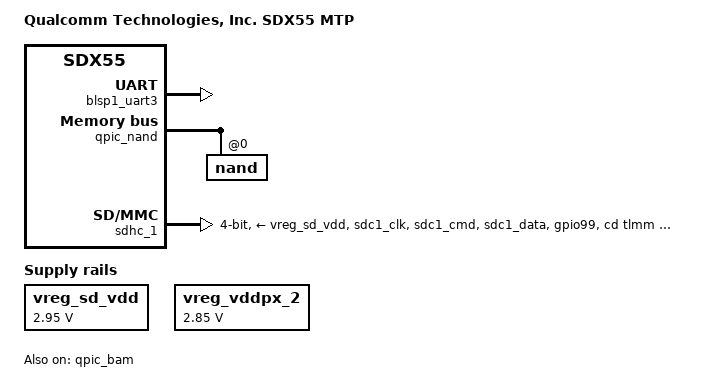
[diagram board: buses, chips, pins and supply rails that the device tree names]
// SPDX-License-Identifier: BSD-3-Clause
/*
 * Copyright (c) 2018-2020, The Linux Foundation. All rights reserved.
 * Copyright (c) 2020, Linaro Ltd.
 */

/dts-v1/;

#include <dt-bindings/gpio/gpio.h>
#include "qcom-sdx55.dtsi"
#include <arm64/qcom/pm8150b.dtsi>

/ {
	model = "Qualcomm Technologies, Inc. SDX55 MTP";
	compatible = "qcom,sdx55-mtp", "qcom,sdx55";
	qcom,board-id = <0x5010008 0x0>;

	aliases {
		serial0 = &blsp1_uart3;
	};

	chosen {
		stdout-path = "serial0:115200n8";
	};

	vreg_sd_vdd: sd-vdd {
		compatible = "regulator-fixed";
		regulator-name = "vreg_sd_vdd";
		regulator-min-microvolt = <2950000>;
		regulator-max-microvolt = <2950000>;
	};

	vreg_vddpx_2: vddpx-2 {
		compatible = "regulator-fixed";
		regulator-name = "vreg_vddpx_2";
		regulator-min-microvolt = <2850000>;
		regulator-max-microvolt = <2850000>;
	};
};

&blsp1_uart3 {
	status = "ok";
};

&qpic_bam {
	status = "ok";
};

&qpic_nand {
	status = "ok";

	nand@0 {
		reg = <0>;

		nand-ecc-strength = <8>;
		nand-ecc-step-size = <512>;
		nand-bus-width = <8>;
	};
};

&sdhc_1 {
	pinctrl-names = "default";
	pinctrl-0 = <&sdc1_default_state &sdc1_card_det_n>;
	vmmc-supply = <&vreg_sd_vdd>;
	vqmmc-supply = <&vreg_vddpx_2>;
	bus-width = <4>;
	cd-gpios = <&tlmm 99 GPIO_ACTIVE_LOW>;
	status = "ok";
};

&tlmm {
	sdc1_default_state: sdc1-default {
		clk {
			pins = "sdc1_clk";
			bias-disable;
			drive-strength = <16>;
		};

		cmd {
			pins = "sdc1_cmd";
			bias-pull-up;
			drive-strength = <10>;
		};

		data {
			pins = "sdc1_data";
			bias-pull-up;
			drive-strength = <10>;
		};
	};

	sdc1_card_det_n: sd-card-det-n {
		pins = "gpio99";
		function = "gpio";
		bias-pull-up;
	};
};
